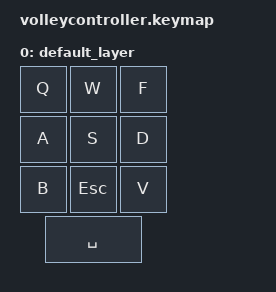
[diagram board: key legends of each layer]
// This file was generated from a template. Edit it to match your keyboard.
// See https://zmk.dev/docs/development/hardware-integration/new-shield for more instructions.

#include <behaviors.dtsi>
#include <dt-bindings/zmk/keys.h>

/ {
    keymap {
        compatible = "zmk,keymap";

        default_layer {
            bindings = <
                &kp Q &kp W &kp F
                &kp A &kp S &kp D
                &kp B &kp ESC &kp V
                &kp SPACE
            >;
        };
    };
};
